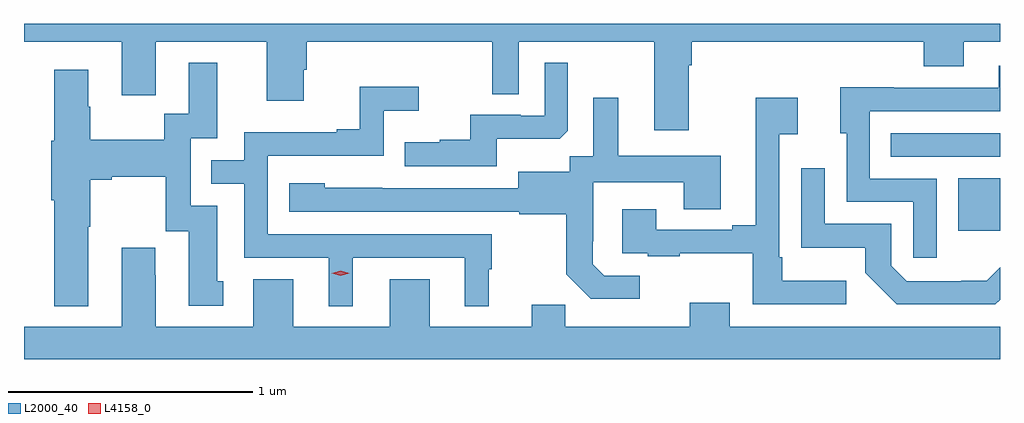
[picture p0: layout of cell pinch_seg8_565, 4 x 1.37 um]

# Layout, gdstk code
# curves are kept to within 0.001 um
import gdstk
lib = gdstk.Library(unit=1e-6, precision=1e-09)
def R(c, l, rs):  # rectangles x0, y0, x1, y1
    for r in rs: c.add(gdstk.rectangle(r[:2], r[2:], *l))
def P(c, l, *ps):  # polygons
    for p in ps: c.add(gdstk.Polygon(p, *l))
L2000_40 = (2000, 40)
L4158_0 = (4158, 0)

pinch_seg8_565 = lib.new_cell('pinch_seg8_565')
R(pinch_seg8_565, L2000_40, [(155.594,1082.426,155.765,1082.641), (155.317,1082.73,155.765,1082.826)])
P(pinch_seg8_565, L2000_40, [(151.765,1083.2),(152.165,1083.2),(152.165,1082.982),(152.305,1082.982),(152.305,1083.2),(152.759,1083.2),(152.759,1082.958),(152.911,1082.958),(152.911,1083.087),(152.924,1083.087),(152.924,1083.2),(153.684,1083.2),(153.684,1082.986),(153.792,1082.986),(153.792,1083.2),(154.349,1083.2),(154.349,1082.838),(154.489,1082.838),(154.489,1083.104),(154.502,1083.104),(154.502,1083.2),(155.453,1083.2),(155.453,1083.101),(155.617,1083.101),(155.617,1083.2),(155.765,1083.2),(155.765,1083.274),(151.765,1083.274)],
  [(153.703,1082.804),(153.961,1082.804),(153.993,1082.835),(153.993,1083.115),(153.9,1083.115),(153.9,1082.898),(153.8,1082.898),(153.8,1082.901),(153.593,1082.901),(153.593,1082.8),(153.469,1082.8),(153.469,1082.788),(153.325,1082.788),(153.325,1082.691),(153.703,1082.691)],
  [(152.029,1082.443),(152.037,1082.443),(152.037,1082.636),(152.125,1082.636),(152.125,1082.648),(152.345,1082.648),(152.345,1082.424),(152.441,1082.424),(152.441,1082.118),(152.581,1082.118),(152.581,1082.22),(152.557,1082.22),(152.557,1082.529),(152.448,1082.529),(152.448,1082.805),(152.557,1082.805),(152.557,1083.115),(152.441,1083.115),(152.441,1082.906),(152.34,1082.906),(152.34,1082.8),(152.037,1082.8),(152.037,1082.934),(152.029,1082.934),(152.029,1083.085),(151.889,1083.085),(151.889,1082.796),(151.877,1082.796),(151.877,1082.552),(151.889,1082.552),(151.889,1082.117),(152.029,1082.117)],
  [(155.505,1082.64),(155.232,1082.64),(155.232,1082.916),(155.765,1082.916),(155.765,1083.103),(155.759,1083.103),(155.759,1083.012),(155.329,1083.012),(155.329,1083.014),(155.111,1083.014),(155.111,1082.826),(155.136,1082.826),(155.136,1082.544),(155.409,1082.544),(155.409,1082.316),(155.505,1082.316)],
  [(153.112,1082.316),(153.572,1082.316),(153.572,1082.117),(153.67,1082.117),(153.67,1082.268),(153.682,1082.268),(153.682,1082.412),(152.763,1082.412),(152.763,1082.733),(153.24,1082.733),(153.24,1082.918),(153.382,1082.918),(153.382,1083.017),(153.142,1083.017),(153.142,1082.842),(153.047,1082.842),(153.047,1082.829),(152.667,1082.829),(152.667,1082.715),(152.533,1082.715),(152.533,1082.619),(152.667,1082.619),(152.667,1082.316),(153.014,1082.316),(153.014,1082.117),(153.112,1082.117)],
  [(154.288,1082.241),(154.143,1082.241),(154.096,1082.288),(154.096,1082.383),(154.098,1082.383),(154.098,1082.624),(154.469,1082.624),(154.469,1082.515),(154.621,1082.515),(154.621,1082.734),(154.201,1082.734),(154.201,1082.971),(154.097,1082.971),(154.097,1082.732),(154.002,1082.732),(154.002,1082.668),(153.791,1082.668),(153.791,1082.601),(152.997,1082.602),(152.997,1082.62),(152.853,1082.62),(152.853,1082.505),(153.795,1082.505),(153.795,1082.493),(153.987,1082.493),(153.987,1082.247),(154.087,1082.147),(154.288,1082.147)],
  [(155.134,1082.221),(154.873,1082.221),(154.873,1082.317),(154.86,1082.317),(154.86,1082.822),(154.936,1082.822),(154.936,1082.971),(154.763,1082.971),(154.763,1082.449),(154.667,1082.449),(154.667,1082.43),(154.357,1082.43),(154.357,1082.515),(154.217,1082.515),(154.217,1082.334),(154.321,1082.334),(154.321,1082.322),(154.453,1082.322),(154.453,1082.333),(154.752,1082.333),(154.752,1082.124),(155.134,1082.124)],
  [(155.765,1082.144),(155.765,1082.276),(155.711,1082.222),(155.606,1082.222),(155.606,1082.22),(155.382,1082.22),(155.319,1082.283),(155.319,1082.454),(155.046,1082.454),(155.046,1082.683),(154.95,1082.683),(154.95,1082.357),(155.212,1082.357),(155.212,1082.255),(155.342,1082.124),(155.745,1082.124)],
  [(155.765,1082.032),(154.657,1082.032),(154.657,1082.131),(154.493,1082.131),(154.493,1082.032),(153.983,1082.032),(153.983,1082.123),(153.845,1082.123),(153.845,1082.032),(153.427,1082.032),(153.427,1082.227),(153.263,1082.227),(153.263,1082.032),(152.869,1082.032),(152.869,1082.227),(152.705,1082.227),(152.705,1082.032),(152.305,1082.032),(152.305,1082.243),(152.302,1082.243),(152.302,1082.356),(152.165,1082.356),(152.165,1082.032),(151.765,1082.032),(151.765,1081.9),(155.765,1081.9)])
P(pinch_seg8_565, L4158_0, [(153.063,1082.242),(153.027,1082.252),(153.027,1082.252),(153.027,1082.252),(153.063,1082.262),(153.099,1082.252),(153.099,1082.252),(153.099,1082.252)])

lib.write_gds('pinch_seg8_565.gds')
